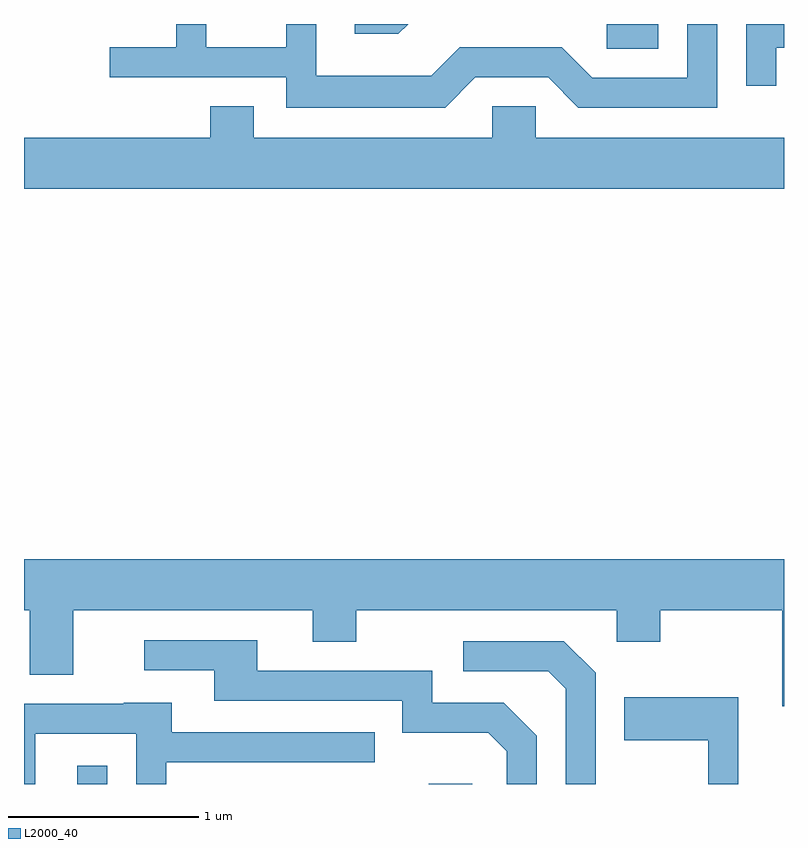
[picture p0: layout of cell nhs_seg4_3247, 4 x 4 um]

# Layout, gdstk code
import gdstk
lib = gdstk.Library(unit=1e-6, precision=1e-09)
def R(c, l, rs):  # rectangles x0, y0, x1, y1
    for r in rs: c.add(gdstk.rectangle(r[:2], r[2:], *l))
def P(c, l, *ps):  # polygons
    for p in ps: c.add(gdstk.Polygon(p, *l))
L2000_40 = (2000, 40)

nhs_seg4_3247 = lib.new_cell('nhs_seg4_3247')
R(nhs_seg4_3247, L2000_40, [(279.891,1355.982,280.049,1356.078), (281.741,1355.982,281.969,1355.984), (282.678,1359.851,282.949,1359.982)])
P(nhs_seg4_3247, L2000_40, [(281.987,1359.701),(282.369,1359.701),(282.529,1359.541),(283.259,1359.541),(283.259,1359.982),(283.101,1359.982),(283.101,1359.699),(282.602,1359.699),(282.442,1359.859),(281.904,1359.859),(281.754,1359.709),(281.149,1359.709),(281.149,1359.982),(280.991,1359.982),(280.991,1359.859),(280.569,1359.859),(280.569,1359.982),(280.411,1359.982),(280.411,1359.859),(280.063,1359.859),(280.063,1359.701),(280.991,1359.701),(280.991,1359.541),(281.827,1359.541)],
  [(283.569,1359.856),(283.611,1359.856),(283.611,1359.982),(283.411,1359.982),(283.411,1359.658),(283.569,1359.658)],
  [(281.633,1359.982),(281.353,1359.982),(281.353,1359.931),(281.582,1359.931)],
  [(283.611,1359.384),(282.304,1359.384),(282.304,1359.549),(282.076,1359.549),(282.076,1359.384),(280.819,1359.384),(280.819,1359.549),(280.591,1359.549),(280.591,1359.384),(279.611,1359.384),(279.611,1359.116),(283.611,1359.116)],
  [(283.611,1357.164),(279.611,1357.164),(279.611,1356.896),(279.641,1356.896),(279.641,1356.556),(279.869,1356.556),(279.869,1356.896),(281.131,1356.896),(281.131,1356.731),(281.359,1356.731),(281.359,1356.896),(282.731,1356.896),(282.731,1356.731),(282.959,1356.731),(282.959,1356.896),(283.601,1356.896),(283.601,1356.391),(283.611,1356.391)],
  [(282.309,1356.237),(282.137,1356.409),(281.759,1356.409),(281.759,1356.579),(280.839,1356.579),(280.839,1356.739),(280.243,1356.739),(280.243,1356.581),(280.611,1356.581),(280.611,1356.421),(281.601,1356.421),(281.601,1356.251),(282.054,1356.251),(282.151,1356.154),(282.151,1355.982),(282.309,1355.982)],
  [(282.619,1356.567),(282.452,1356.734),(281.923,1356.734),(281.923,1356.576),(282.369,1356.576),(282.461,1356.484),(282.461,1355.982),(282.619,1355.982)],
  [(283.369,1356.439),(282.771,1356.439),(282.771,1356.211),(283.211,1356.211),(283.211,1355.982),(283.369,1355.982)],
  [(279.669,1356.246),(280.201,1356.246),(280.201,1355.982),(280.359,1355.982),(280.359,1356.096),(281.458,1356.096),(281.458,1356.254),(280.389,1356.254),(280.389,1356.409),(280.135,1356.409),(280.135,1356.404),(279.611,1356.404),(279.611,1355.982),(279.669,1355.982)])

lib.write_gds('nhs_seg4_3247.gds')
